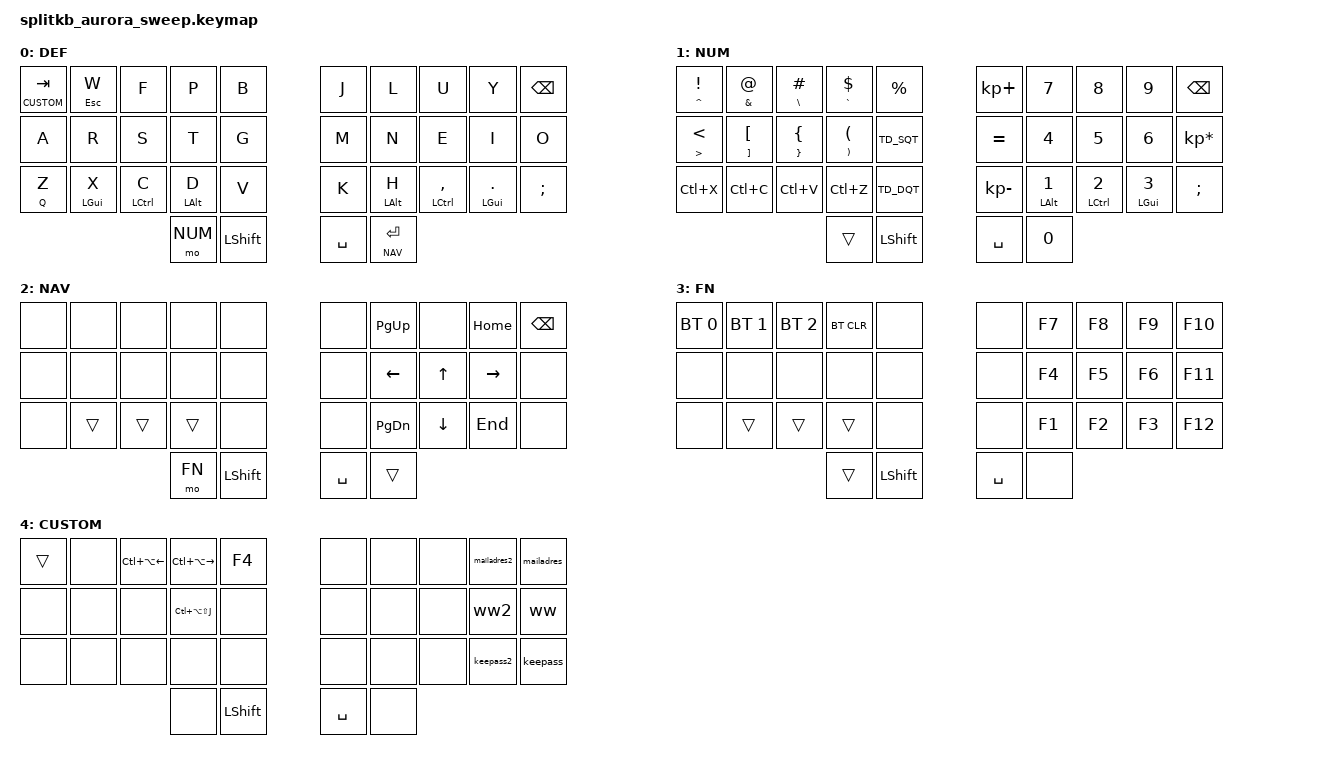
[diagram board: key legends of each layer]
#include <behaviors.dtsi>
#include <dt-bindings/zmk/keys.h>
#include <dt-bindings/zmk/bt.h>

#include "zmk-helpers/helper.h"
#include "zmk-helpers/key-labels/34.h"

/*     DEFINITIONS     */
#define QUICK_TAP_MS 175

// Layers

#define DEF 0
#define NUM 1
#define NAV 2
#define FN 3
#define CUSTOM 4

// Keycodes

#define xxx &none
#define ___ &trans

/*     CONFIG     */

// Layer tap

&lt {
  flavor = "balanced";
  tapping-term-ms = <200>;
  quick-tap-ms = <QUICK_TAP_MS>;
};

/*    HOMEROW MODS     */

#define KEYS_L LT0 LT1 LT2 LT3 LT4 LM0 LM1 LM2 LM3 LM4 LB0 LB1 LB2 LB3 LB4
#define KEYS_R RT0 RT1 RT2 RT3 RT4 RM0 RM1 RM2 RM3 RM4 RB0 RB1 RB2 RB3 RB4
#define THUMBS LH1 LH0 RH0 RH1

// MAKE_HRM maakt een HomeRowMod
#define MAKE_HRM(NAME, HOLD, TAP, TRIGGER_POS)                                 \
  ZMK_HOLD_TAP(NAME, bindings = <HOLD>, <TAP>; flavor = "balanced";            \
               tapping-term-ms = <280>; quick-tap-ms = <QUICK_TAP_MS>;         \
               require-prior-idle-ms = <150>; hold-trigger-on-release;         \
               hold-trigger-key-positions = <TRIGGER_POS>;)

// // &hml en &hmr kunnen nu in het keyscheme gebruikt worden
MAKE_HRM(hml, &kp, &kp, KEYS_R THUMBS) // Left-hand HRMs.
MAKE_HRM(hmr, &kp, &kp, KEYS_L THUMBS) // Right-hand HRMs.

// Hack: Make HRM combos tap-only (cf, ZMK issue #544).
#define ZMK_COMBO_8(NAME, TAP, POS, LAYERS, COMBO_MS, IDLE_MS, HOLD, SIDE)     \
  MAKE_HRM(hm_combo_##NAME, &kp, TAP, SIDE THUMBS)                             \
  ZMK_COMBO_6(NAME, &hm_combo_##NAME HOLD 0, POS, LAYERS, COMBO_MS, IDLE_MS)

#include "combos.dtsi" // Must be sourced after HRM-combo hack.

/* NAV CLUSTER */

// Trigger tap-action on all interrupts.
#define MT_CORE                                                                \
  flavor = "tap-preferred";                                                    \
  tapping-term-ms = <220>;                                                     \
  quick-tap-ms = <220>;                                                        \
  hold-trigger-key-positions = <0>;

&mt { MT_CORE };

ZMK_HOLD_TAP(mt_home, bindings = <&masked_home>, <&kp>; MT_CORE)
ZMK_HOLD_TAP(mt_end, bindings = <&masked_end>, <&kp>; MT_CORE)

#define NAV_LEFT  &mt_home 0   LEFT  // Tap: left  | Long-tap: start of line.
#define NAV_RIGHT &mt_end 0    RIGHT // Tap: right | Long-tap: end   of line.
#define NAV_UP    &mt LC(HOME) UP    // Tap: up    | Long-tap: start of doc.
#define NAV_DOWN  &mt LC(END)  DOWN  // Tap: down  | Long-tap: end   of doc.

// Mask CTRL on left/right hold to avoid accidental jumps to start/end of doc.
#define MASK_MODS(NAME, MODS, BINDING)                                         \
  ZMK_MOD_MORPH(NAME, bindings = <BINDING>, <BINDING>; mods = <MODS>;)

MASK_MODS(masked_home, (MOD_LCTL), &kp HOME)
MASK_MODS(masked_end,  (MOD_LCTL), &kp END)

// Define mod-morph with a *single* mod trigger for less repetition.
#define SIMPLE_MORPH(NAME, MOD, BINDING1, BINDING2)                            \
  ZMK_MOD_MORPH(NAME, mods = <(MOD_L##MOD | MOD_R##MOD)>;                      \
                bindings = <BINDING1>, <BINDING2>;)

// Tap: comma | Shift + tap: semicolon | Ctrl + shift + tap: <.
SIMPLE_MORPH(comma_morph, SFT, &kp COMMA, &comma_inner_morph)
SIMPLE_MORPH(comma_inner_morph, CTL, &kp SEMICOLON, &kp LESS_THAN)


/ {
        keymap {
                compatible = "zmk,keymap";

            DEF { // layer 0
        bindings = <
        //╭───────────────┬─────────────┬─────────────┬─────────────┬─────────────╮ ╭─────────────┬─────────────┬────────────────┬──────────────┬─────────────╮
            &lt CUSTOM TAB  &mt ESC W     &kp F         &kp P         &kp B           &kp J         &kp L         &kp U            &kp Y          &kp BSPC
        //├───────────────┼─────────────┼─────────────┼─────────────┼─────────────┤ ├─────────────┼─────────────┼────────────────┼──────────────┼─────────────┤
            &kp A           &kp R         &kp S         &kp T         &kp G           &kp M         &kp N         &kp E            &kp I          &kp O
        //├───────────────┼─────────────┼─────────────┼─────────────┼─────────────┤ ├─────────────┼─────────────┼────────────────┼──────────────┼─────────────┤
            &mt Q Z         &hml LGUI X   &hml LCTRL C  &hml LALT D   &kp V           &kp K         &hmr LALT H   &hmr LCTRL COMMA &hmr LGUI DOT  &kp SEMI
        //╰───────────────┼─────────────┴─────────────┼─────────────┼─────────────┤ ├─────────────┼─────────────┼────────────────┴──────────────┴─────────────╯
                                                        &mo NUM       &kp LSHFT       &kp SPACE     &lt NAV ENTER
        //                                            ╰─────────────┴─────────────╯ ╰─────────────┴─────────────╯
        >;
        };

            NUM { // layer 1
        bindings = <
        //╭───────────────┬────────────────┬─────────────────┬───────────────┬─────────────╮ ╭─────────────┬─────────────┬──────────────┬─────────────┬─────────────╮
            &mt CARET EXCL  &mt AMPS AT      &mt BSLH HASH     &mt GRAVE DLLR  &kp PRCNT       &kp KP_PLUS   &kp N7        &kp N8         &kp N9        &kp BSPC
        //├───────────────┼────────────────┼─────────────────┼───────────────┼─────────────┤ ├─────────────┼─────────────┼──────────────┼─────────────┼─────────────┤
            &mt GT LT       &mt RBKT LBKT    &mt RBRC LBRC     &mt RPAR LPAR   &TD_SQT         &kp EQUAL     &kp N4        &kp N5         &kp N6        &kp KP_ASTERISK
        //├───────────────┼────────────────┼─────────────────┼───────────────┼─────────────┤ ├─────────────┼─────────────┼──────────────┼─────────────┼─────────────┤
            &kp LC(X)       &kp LC(C)        &kp LC(V)         &kp LC(Z)       &TD_DQT         &kp KP_MINUS  &hmr LALT N1   &hmr LCTRL N2  &hmr LGUI N3  &kp SEMI
        //╰───────────────┼────────────────┴─────────────────┼───────────────┼─────────────┤ ├─────────────┼─────────────┼──────────────┴───────────────────────────╯
                                                               ___             &kp LSHFT       &kp SPACE     &kp N0
    //                                                       ╰───────────────┴─────────────╯ ╰─────────────┴─────────────╯
        >;
        };

        NAV { // layer 2
        bindings = <
        //╭───────────────┬──────────────┬──────────────┬──────────────┬─────────────╮ ╭─────────────┬─────────────┬─────────────┬─────────────┬─────────────╮
            xxx             xxx            xxx            xxx            xxx             xxx           &kp PG_UP     xxx           &kp HOME      &kp BSPC
        //├───────────────┼──────────────┼──────────────┼──────────────┼─────────────┤ ├─────────────┼─────────────┼─────────────┼─────────────┼─────────────┤
            xxx             xxx            xxx            xxx            xxx             xxx           &kp LEFT      &kp UP        &kp RIGHT     xxx
        //├───────────────┼──────────────┼──────────────┼──────────────┼─────────────┤ ├─────────────┼─────────────┼─────────────┼─────────────┼─────────────┤
            xxx             ___            ___            ___            xxx             xxx           &kp PG_DN     &kp DOWN      &kp END       xxx
        //╰───────────────┼──────────────┴──────────────┼──────────────┼─────────────┤ ├─────────────┼─────────────┼─────────────┴───────────────────────────╯
                                                          &mo FN         &kp LSHFT       &kp SPACE     ___
    //                                                  ╰──────────────┴─────────────╯ ╰─────────────┴─────────────╯
        >;
        };

        FN { // layer 3
        bindings = <
        //╭───────────────┬──────────────┬──────────────┬──────────────┬─────────────╮ ╭─────────────┬─────────────┬─────────────┬─────────────┬─────────────╮
            &bt BT_SEL 0    &bt BT_SEL 1   &bt BT_SEL 2   &bt BT_CLR     xxx             xxx           &kp F7        &kp F8        &kp F9        &kp F10
        //├───────────────┼──────────────┼──────────────┼──────────────┼─────────────┤ ├─────────────┼─────────────┼─────────────┼─────────────┼─────────────┤
            xxx             xxx            xxx            xxx            xxx             xxx           &kp F4        &kp F5        &kp F6        &kp F11         
        //├───────────────┼──────────────┼──────────────┼──────────────┼─────────────┤ ├─────────────┼─────────────┼─────────────┼─────────────┼─────────────┤
            xxx             ___            ___            ___            xxx             xxx           &kp F1        &kp F2        &kp F3        &kp F12
        //╰───────────────┼──────────────┴──────────────┼──────────────┼─────────────┤ ├─────────────┼─────────────┼─────────────┴───────────────────────────╯
                                                          ___            &kp LSHFT       &kp SPACE     xxx
    //                                                  ╰──────────────┴─────────────╯ ╰─────────────┴─────────────╯
        >;
        };

        CUSTOM { // layer 4
        bindings = <
        //╭───────────────┬──────────────┬──────────────┬──────────────┬─────────────╮ ╭─────────────┬─────────────┬─────────────┬─────────────┬─────────────╮
            ___             xxx            &kp LC(LA(LEFT)) &kp LC(LA(RIGHT))  &kp F4    xxx           xxx           xxx           &mailadres2   &mailadres
        //├───────────────┼──────────────┼──────────────┼──────────────┼─────────────┤ ├─────────────┼─────────────┼─────────────┼─────────────┼─────────────┤
            xxx             xxx            xxx            &kp LC(LA(LS(J)))  xxx         xxx           xxx           xxx           &ww2          &ww
        //├───────────────┼──────────────┼──────────────┼──────────────┼─────────────┤ ├─────────────┼─────────────┼─────────────┼─────────────┼─────────────┤
            xxx             xxx            xxx            xxx            xxx             xxx           xxx           xxx           &keepass2     &keepass
        //╰───────────────┼──────────────┴──────────────┼──────────────┼─────────────┤ ├─────────────┼─────────────┼─────────────┴───────────────────────────╯
                                                          xxx            &kp LSHFT       &kp SPACE     xxx
    //                                                  ╰──────────────┴─────────────╯ ╰─────────────┴─────────────╯
        >;
        };

    };
};
